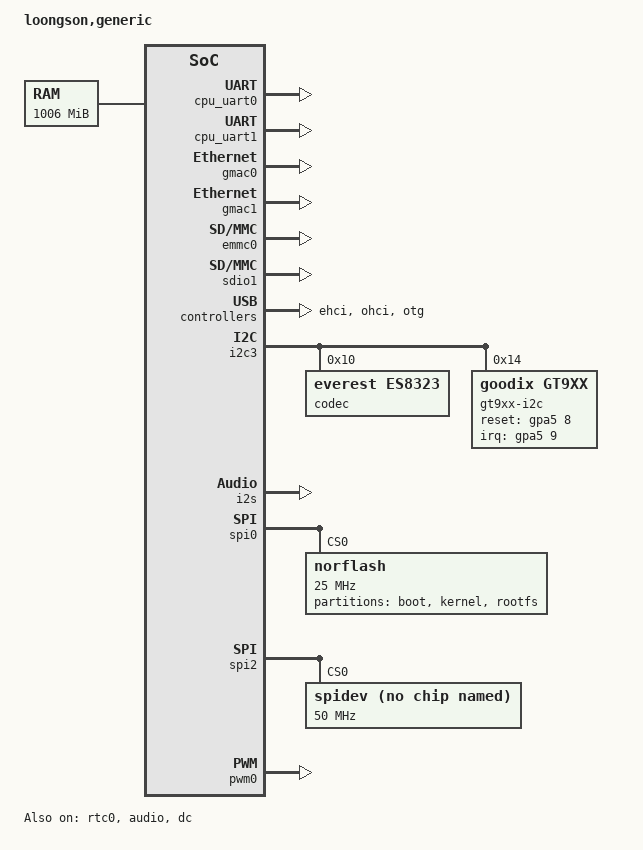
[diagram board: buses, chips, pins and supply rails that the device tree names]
/dts-v1/;
#include "loongson_2k0300.dtsi"

/ {
	model = "loongson,generic";
	compatible = "loongson,loongson3";
	#address-cells = <2>;
	#size-cells = <2>;

	chosen {
		stdout-path = "serial0:115200n8";
		bootargs = "earlycon";
	};

	memory {
		name = "memory";
		device_type = "memory";
		reg =  <0 0x00200000 0 0x0ee00000
#if 0
			0 0x90000000 0 0x10000000>;
#else
			0 0x90000000 0 0x30000000>;
#endif
	};

	soc {

		sound {
			status = "okay";
			compatible = "loongson,ls-sound";
			loongson,i2s-controller = <&i2s>;
			loongson,audio-codec = <&audio>;
			codec-names = "ES8323 PAIF RX","Playback", "ES8323 HiFi", "ES8323.0-0010",
			"ES8323 PAIF TX","Capture","ES8323 HiFi","ES8323.0-0010";
		};

		reserved-memory {
			#address-cells = <2>;
			#size-cells = <2>;
			ranges;

			display_reserved: framebuffer@30000000 {
				compatible = "shared-dma-pool";
				reg = <0x0 0xa0000000 0x0 0x08000000>; /* 128M */
				linux,cma-default;
			};
		};
	};
};

&cpu_uart0 {
	status = "okay";
	pinctrl-names = "default";
	pinctrl-0 = <&uart0_2bit_m0>;
};

&cpu_uart1 {
	status = "okay";
	pinctrl-names = "default";
	pinctrl-0 = <&uart1_2bit_m0>;
};

&cpu_uart2 {
	status = "disabled";
	pinctrl-names = "default";
	pinctrl-0 = <&uart2_2bit_m0>;
};

&cpu_uart3 {
	status = "disabled";
	pinctrl-names = "default";
	pinctrl-0 = <&uart3_2bit_m0>;
};

&rtc0 {
	status = "okay";
};

&can2 {
	status = "disabled";
	pinctrl-names = "default";
	pinctrl-0 = <&can2_mux_m0>;
};

&can3 {
	status = "disabled";
	pinctrl-names = "default";
	pinctrl-0 = <&can3_mux_m0>;
};

&gmac0 {
	status = "okay";
	pinctrl-names = "default";
	pinctrl-0 = <&gmac0_12bit_f0>, <&gmac0_12bit_f1>;
};

&gmac1 {
	status = "okay";
	pinctrl-names = "default";
	pinctrl-0 = <&gmac1_12bit_f0>, <&gmac1_12bit_f1>;
};


&emmc0 {
	status = "okay";
	pinctrl-names = "default";
	pinctrl-0 = <&sdio0_pin_f0>, <&sdio0_pin_f1>;
};

&sdio1 {
	status = "okay";
	pinctrl-names = "default";
	pinctrl-0 = <&sdio1_6bit>;
	/* cd-gpio = <&gpa4 7 1>; */
};

&ehci {
	status = "okay";
};

&ohci {
	status = "okay";
};

&otg {
	status = "okay";
};

&i2c0 {
	status = "disabled";
	clock-frequency = <100000>;
	pinctrl-names = "default";
	pinctrl-0 = <&i2c0_mux_m0>;
};

&i2c1 {
	status = "disabled";
	clock-frequency = <400000>;
	pinctrl-names = "default";
	pinctrl-0 = <&i2c1_mux_m0>;
};

&i2c3 {
	status = "okay";
	pinctrl-names = "default";
	pinctrl-0 = <&i2c3_mux_m1>;

	codec@10 {
		compatible = "everest,es8323";
		reg = <0x10>;
	};

	gt9xx-i2c@14{
		status = "okay";
		compatible = "goodix,gt9xx";
		reg = <0x14>;

		reset-gpios = <&gpa5 8 0>;
		irq-gpios = <&gpa5 9 IRQ_TYPE_EDGE_RISING>;
		irq-flags = <2>;
		goodix,type-a-report = <0>;
		goodix,driver-send-cfg = <0>;
		goodix,create-wr-node = <1>;
		goodix,wakeup-with-reset = <0>;
		goodix,resume-in-workqueue = <0>;
		goodix,int-sync = <1>;
		goodix,swap-x2y = <0>;
		goodix,esd-protect = <0>;
		goodix,auto-update = <1>;
		goodix,auto-update-cfg = <0>;
		goodix,power-off-sleep = <0>;
		goodix.pen-suppress-finger = <0>;
		goodix,cfg-group0 = [
			53 D0 02 00 05 05 F5 D5 21 48 2D 0F 5A 41 0E 05 00 00 32
			32 20 00 05 14 14 1A 14 8B 2B 00
		];
	};
};

&i2s {
	status = "okay";
	pinctrl-names = "default";
	pinctrl-0 = <&i2s_pin_f0>, <&i2s_pin_f1>;
};

&audio {
	status = "okay";
};

&spi0 {
	status = "okay";
	pinctrl-names = "default";
	pinctrl-0 = <&spi0_6bit_f0>,<&spi0_6bit_f1>;

	norflash@0 {
		reg = <0>;
		spi-rx-bus-width = <4>;
		spi-max-frequency = <25000000>;
		#address-cells = <1>;
		#size-cells = <1>;
		partitions {
			compatible = "fixed-partitions";
			#address-cells = <1>;
			#size-cells = <1>;

			boot@0 {
				label = "boot";
				reg = <0x0000000 0x100000>;
				/*read-only;*/
			};

			kernel@100000 {
				label = "kernel";
				reg = <0x100000 0x600000>;
			};

			rootfs@700000 {
				label = "rootfs";
				reg = <0x700000 0x1000000>;
			};
		};
	};
};

&spi2 {
	status = "okay";
	pinctrl-names = "default";
	pinctrl-0 = <&spi2_pin>;
	spidev@0{
		compatible = "rohm,dh2228fv";
		spi-max-frequency = <50000000>;
		reg = <0>;
	};
};

&pwm0 {
	status = "okay";
	pinctrl-names = "default";
	pinctrl-0 = <&pwm0_mux_m2>;
};

&dc{
	status = "okay";
	pinctrl-names = "default";
	pinctrl-0 = <&lcd_pin_f0>,<&lcd_pin_f1>;
};

/ {
	soc {
		leds {
			status = "disabled";
			compatible = "gpio-leds";

			led-3 {
				status = "disabled";
				label = "led3";
				gpios = <&gpa4 0x09 GPIO_ACTIVE_HIGH>;
				default-state = "off";
			};

			led-5 {
				status = "disabled";
				label = "led5";
				gpios = <&gpa4 0x08 GPIO_ACTIVE_HIGH>;
				default-state = "off";
			};

			led-7 {
				status = "disabled";
				label = "led7";
				gpios = <&gpa4 0x0b GPIO_ACTIVE_HIGH>;
				default-state = "off";
			};

			led-9 {
				status = "disabled";
				label = "led9";
				gpios = <&gpa4 0x0a GPIO_ACTIVE_HIGH>;
				default-state = "off";
			};

			led-11 {
				status = "disabled";
				label = "led11";
				gpios = <&gpa3 0x02 GPIO_ACTIVE_HIGH>;
				default-state = "off";
			};

			led-13 {
				status = "disabled";
				label = "led13";
				gpios = <&gpa3 0x03 GPIO_ACTIVE_HIGH>;
				default-state = "off";
			};

			led-15 {
				status = "disabled";
				label = "led15";
				gpios = <&gpa5 0x05 GPIO_ACTIVE_HIGH>;
				default-state = "off";
			};

			led-17 {
				status = "disabled";
				label = "led17";
				gpios = <&gpa5 0x04 GPIO_ACTIVE_HIGH>;
				default-state = "off";
			};

			led-21 {
				status = "disabled";
				label = "led21";
				gpios = <&gpa4 0x00 GPIO_ACTIVE_HIGH>;
				default-state = "off";
			};

			led-23 {
				status = "disabled";
				label = "led23";
				gpios = <&gpa4 0x03 GPIO_ACTIVE_HIGH>;
				default-state = "off";
			};

			led-25 {
				status = "disabled";
				label = "led25";
				gpios = <&gpa4 0x01 GPIO_ACTIVE_HIGH>;
				default-state = "off";
			};

			led-27 {
				status = "okay";
				label = "led27";
				gpios = <&gpa4 0x02 GPIO_ACTIVE_HIGH>;
				default-state = "off";
			};

			led-16 {
				status = "disabled";
				label = "led16";
				gpios = <&gpa3 0x00 GPIO_ACTIVE_HIGH>;
				default-state = "off";
			};

			led-18 {
				status = "disabled";
				label = "led18";
				gpios = <&gpa3 0x01 GPIO_ACTIVE_HIGH>;
				default-state = "off";
			};

			led-22 {
				status = "disabled";
				label = "led22";
				gpios = <&gpa3 0x0c GPIO_ACTIVE_HIGH>;
				default-state = "off";
			};

			led-24 {
				status = "disabled";
				label = "led24";
				gpios = <&gpa3 0x0f GPIO_ACTIVE_HIGH>;
				default-state = "off";
			};

			led-26 {
				status = "disabled";
				label = "led26";
				gpios = <&gpa3 0x0d GPIO_ACTIVE_HIGH>;
				default-state = "off";
			};

			led-28 {
				status = "disabled";
				label = "led28";
				gpios = <&gpa3 0x0e GPIO_ACTIVE_HIGH>;
				default-state = "off";
			};
		};
	};
};
